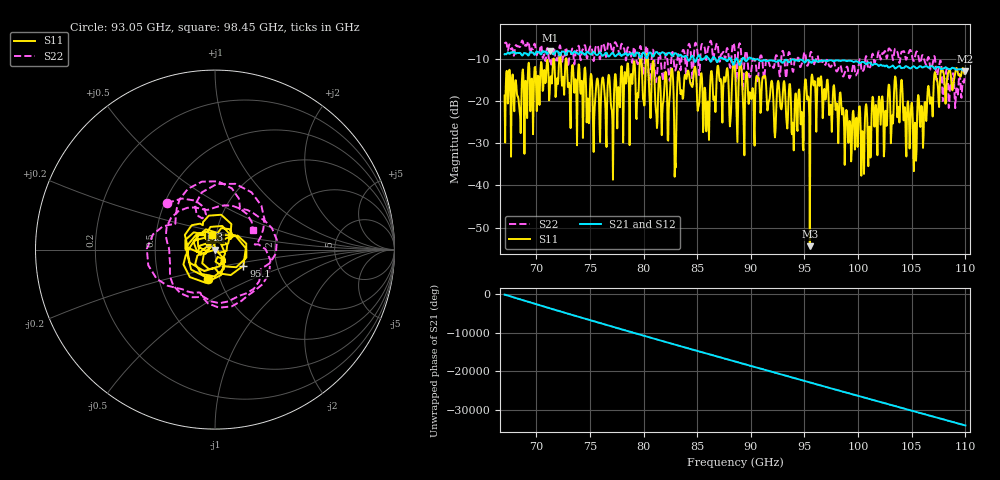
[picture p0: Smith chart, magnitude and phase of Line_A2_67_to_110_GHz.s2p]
#  HZ  S  MA  R  50.00
! Rohde & Schwarz ZVA67 4Ports - Version 4.11 - 1305.7002k04 SN: 101051
! Date: 2023-09-13 17:21:20
! Measurements: S11 S21 S12 S22
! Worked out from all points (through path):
!   860 points, 67.05 GHz to 110 GHz, reference 50 ohm
!   highest |S21| = -8.04 dB at 71.25 GHz (marker M1); lowest = -12.8 dB at 110 GHz (marker M2)
!   lowest |S11| = -54.4 dB at 95.5 GHz (marker M3), VSWR 1.00, Z = 50.2 - j0.0217 ohm
!   |S11| at or under -10 dB: start of sweep to 71.6 GHz; 72.81 GHz to 79.67 GHz (6.865 GHz wide, 9 % of centre); 80.4 GHz to end of sweep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
!   |S22| runs from -21.6 to -5.6 dB; largest |S21 - S12| = 0.039
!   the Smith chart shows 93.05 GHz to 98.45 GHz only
!   S11 on the Smith chart (normalised r, x): 93.05 GHz: 0.88, -0.29; 95.1 GHz: 1.35, -0.25; 98.45 GHz: 0.96, +0.16
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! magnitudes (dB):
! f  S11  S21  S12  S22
! 67.05 GHz  -18.7  -8.8  -8.8  -6.0
! 71.25 GHz  -18.1  -8.0  -8.0  -10.7
! 74.25 GHz  -15.1  -8.5  -8.5  -8.2
! 77.05 GHz  -22.2  -8.6  -8.6  -8.0
! 80.35 GHz  -8.9  -9.7  -9.7  -7.5
! 81.4 GHz  -15.9  -8.7  -8.7  -9.5
! 82.6 GHz  -12.6  -9.1  -9.1  -9.7
! 82.95 GHz  -34.7  -8.6  -8.6  -12.7
! 84.05 GHz  -13.9  -9.6  -9.5  -11.5
! 85.95 GHz  -20.4  -9.5  -9.5  -8.4
! 87 GHz  -12.6  -10.2  -10.1  -8.8
! 88.55 GHz  -13.5  -10.3  -10.3  -10.1
! 93.05 GHz  -15.6  -10.7  -10.7  -8.6
! 95.1 GHz  -14.8  -10.7  -10.7  -9.0
! 95.5 GHz  -54.4  -10.6  -10.5  -9.3
! 95.7 GHz  -13.7  -10.8  -10.7  -9.0
! 98.45 GHz  -21.6  -10.4  -10.4  -12.5
! 100.5 GHz  -27.3  -10.7  -10.7  -12.8
! 102.8 GHz  -16.1  -12.0  -12.0  -7.5
! 105.3 GHz  -25.1  -11.9  -11.9  -9.5
! 107.2 GHz  -14.1  -12.1  -12.1  -12.7
! 110 GHz  -13.2  -12.8  -12.8  -12.2
